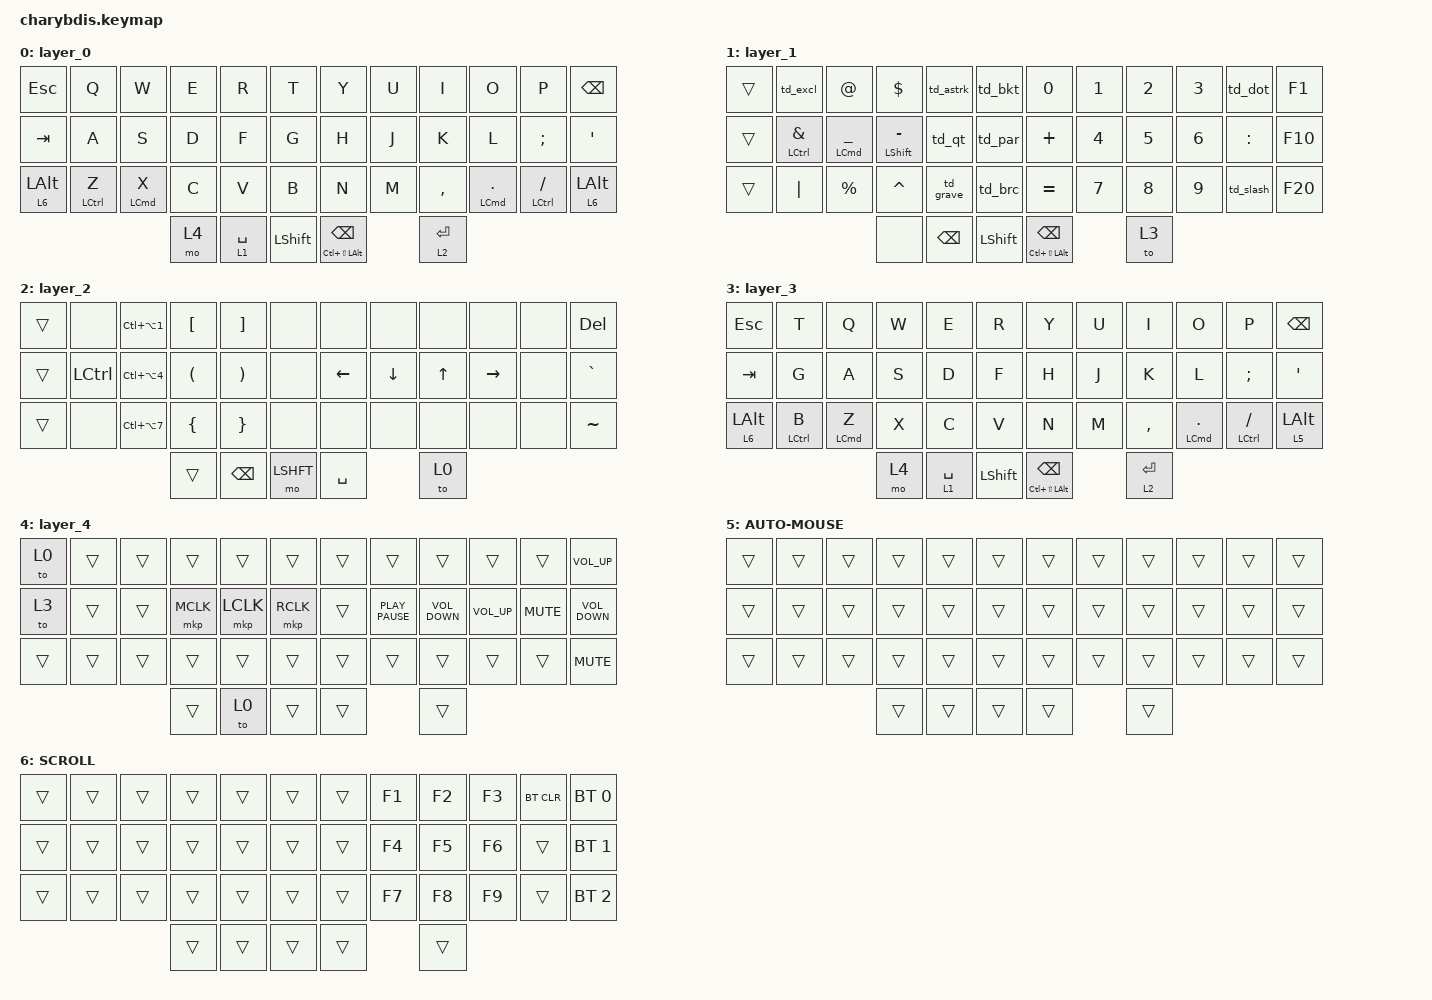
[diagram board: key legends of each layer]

#include <behaviors/mouse_keys.dtsi>
#include <behaviors.dtsi>
#include <dt-bindings/zmk/bt.h>
#include <dt-bindings/zmk/keys.h>
#include <dt-bindings/zmk/mouse.h>
#include <dt-bindings/zmk/outputs.h>

#define U_TAPPING_TERM 200


#define L0 0
#define L1 1
#define L2 2
#define L3 3
#define L4 4


#define AU(keycode) &au LA(keycode) keycode  // Autoumlauts Macro 

/ {
    chosen { zmk,matrix_transform = &default_transform; };
};

&mt {
	flavor = "tap-preferred";
	tapping_term_ms = <200>;
	quick_tap_ms = <125>;
};

/ {
    
    macros {
        excl_eq: excl_eq {
            label = "EXCL_EQ";
            compatible = "zmk,behavior-macro";
            #binding-cells = <0>;
            bindings = <&kp EXCL &kp EQUAL>;
        };

    };
    combos {
        compatible = "zmk,combos";

        escape_key {
            timeout-ms = <20>;
            key-positions = <15 16>;
            bindings = <&kp ESC>;
        };

        tab_key {
            timeout-ms = <20>;
            key-positions = <20 21>;
            bindings = <&kp TAB>;
        };

        lock_screen {
            timeout-ms = <20>;
            key-positions = <27 28>;
            bindings = <&kp LC(LG(Q))>;
            layers = <0>;
        };
    };

    behaviors {
        u_mt: u_mt {
            compatible = "zmk,behavior-hold-tap";
            label = "u_mt";
            #binding-cells = <2>;
            tapping_term_ms = <U_TAPPING_TERM>;
            flavor = "tap-preferred";
            bindings = <&kp>, <&kp>;
        };

        u_lt: u_lt {
            compatible = "zmk,behavior-hold-tap";
            label = "u_lt";
            #binding-cells = <2>;
            tapping_term_ms = <U_TAPPING_TERM>;
            flavor = "tap-preferred";
            bindings = <&mo>, <&kp>;
        };

		lm: layer_mod {
			label = "LAYER_MOD";
			compatible = "zmk,behavior-hold-tap";
			flavor = "hold-preferred";
			tapping_term_ms = <200>;
            #binding-cells = <2>;
			bindings = <&kp>,<&to>;
		};

        td_grave: tap_dance_grave {
            compatible = "zmk,behavior-tap-dance";
            label = "TAP_DANCE_GRAVE";
            #binding-cells = <0>;
            tapping-term-ms = <200>;
            bindings =
                <&kp GRAVE>,
                <&kp TILDE>;
        };

        td_bkt: tap_dance_bkt {
            compatible = "zmk,behavior-tap-dance";
            label = "TAP_DANCE_BKT";
            #binding-cells = <0>;
            tapping-term-ms = <200>;
            bindings =
                <&kp LBKT>,
                <&kp RBKT>;
        };

        td_par: tap_dance_par {
            compatible = "zmk,behavior-tap-dance";
            label = "TAP_DANCE_PAR";
            #binding-cells = <0>;
            tapping-term-ms = <200>;
            bindings =
                <&kp LPAR>,
                <&kp RPAR>;
        };

        td_brc: tap_dance_brc {
            compatible = "zmk,behavior-tap-dance";
            label = "TAP_DANCE_BRC";
            #binding-cells = <0>;
            tapping-term-ms = <200>;
            bindings =
                <&kp LBRC>,
                <&kp RBRC>;
        };

        td_qt: tap_dance_qt {
            compatible = "zmk,behavior-tap-dance";
            label = "TAP_DANCE_QT";
            #binding-cells = <0>;
            tapping-term-ms = <200>;
            bindings =
                <&kp SQT>,
                <&kp DQT>;
        };

        td_excl: tap_dance_excl {
            compatible = "zmk,behavior-tap-dance";
            label = "TAP_DANCE_EXCL";
            #binding-cells = <0>;
            tapping-term-ms = <200>;
            bindings =
                <&kp EXCL>,
                <&excl_eq>;
        };

        td_dot: td_dot {
            compatible = "zmk,behavior-tap-dance";
            label = "TAP_DANCE_DOT";
            #binding-cells = <0>;
            tapping-term-ms = <200>;
            bindings =
                <&kp DOT>,
                <&kp COMMA>;
        };

        td_slash: td_slash {
            compatible = "zmk,behavior-tap-dance";
            label = "TAP_DANCE_SLASH";
            #binding-cells = <0>;
            tapping-term-ms = <200>;
            bindings =
                <&kp SLASH>,
                <&kp BACKSLASH>;
        };

        td_astrk: td_astrk {
            compatible = "zmk,behavior-tap-dance";
            label = "TAP_DANCE_ASTRK";
            #binding-cells = <0>;
            tapping-term-ms = <200>;
            bindings =
                <&kp ASTRK>,
                <&kp HASH>;
        };

        hm: homerow_mods {
            compatible = "zmk,behavior-hold-tap";
            label = "HOMEROW_MODS";
            #binding-cells = <2>;
            tapping-term-ms = <200>;
            quick-tap-ms = <0>;
            flavor = "balanced";
            bindings =
                <&kp>,
                <&kp>;
        };

        au: auto_umlauts {
            compatible = "zmk,behavior-hold-tap";
            label = "HOMEROW_MODS";
            #binding-cells = <2>;
            tapping-term-ms = <225>;
            quick-tap-ms = <0>;
            flavor = "tap-preferred";
            bindings =
                <&kp>,
                <&kp>;
        };

        dl: double_layer {
            compatible= "zmk,behavior-hold-tap";
            #binding-cells = <2>;
            flavor = "tap-preferred";
            tapping-term-ms = <300>;
            quick-tap-ms = <0>;
            bindings = <&mo>, <&sl>;
        };
    };

    keymap {
        compatible = "zmk,keymap";

        layer_0 {
            bindings = <
&kp ESC  &kp Q             &kp W             &kp E          &kp R               &kp T    &kp Y  &kp U               &kp I          &kp O              &kp P                 &kp BSPC
&kp TAB  &kp A             &kp S             &kp D          &kp F               &kp G    &kp H  &kp J               &kp K          &kp L              &kp SEMI              &kp APOS
&lt 6 LALT    &hm LCTRL Z       &hm LCMD X        &kp C          &kp V               &kp B    &kp N  &kp M               &kp COMMA      &hm LCMD DOT       &hm LCTRL SLASH       &lt 6 LALT
                                             &mo 4          &lt 1 SPACE    &kp LSHIFT    &mt LC(LS(LALT)) BSPC      &lt 2 ENTER
            >;
        };

        layer_1 {
            bindings = <
&trans  &td_excl        &kp AT          &kp DOLLAR       &td_astrk  &td_bkt     &kp N0           &kp N1         &kp N2      &kp N3  &td_dot     &kp F1
&trans  &hm LCTRL AMPS  &hm LCMD UNDER  &hm LSHFT MINUS  &td_qt     &td_par     &kp PLUS         &kp N4         &kp N5      &kp N6  &kp COLON   &kp F10
&trans  &kp PIPE        &kp PRCNT       &kp CARET        &td_grave  &td_brc     &kp EQUAL        &kp N7         &kp N8      &kp N9  &td_slash   &kp F20
                                        &none            &kp BSPC   &kp LSHFT   &mt LC(LS(LALT)) BSPC           &to L3
            >;
        };

        layer_2 {
            bindings = <
&trans      &none       &kp LC(LA(N1))  &kp LBKT  &kp RBKT  &none            &none      &none         &none       &none         &none  &kp DEL
&trans      &kp LCTRL   &kp LC(LA(N4))  &kp LPAR  &kp RPAR  &none            &kp LEFT   &kp DOWN      &kp UP      &kp RIGHT     &none  &kp GRAVE
&trans      &none       &kp LC(LA(N7))  &kp LBRC  &kp RBRC  &none            &none      &none         &none       &none         &none  &kp TILDE
                                        &trans    &kp BSPC  &mo LSHFT        &kp SPACE  &to L0
            >;
        };

        layer_3 { 
            bindings = <
&kp ESC       &kp T             &kp Q             &kp W          &kp E               &kp R        &kp Y  &kp U               &kp I          &kp O              &kp P                 &kp BSPC
&kp TAB       &kp G             &kp A             &kp S          &kp D               &kp F        &kp H  &kp J               &kp K          &kp L              &kp SEMI              &kp APOS
&lt 6 LALT    &hm LCTRL B       &hm LCMD Z        &kp X          &kp C               &kp V        &kp N  &kp M               &kp COMMA      &hm LCMD DOT       &hm LCTRL SLASH       &lt 5 LALT
                                                  &mo 4          &lt 1 SPACE         &kp LSHIFT   &mt LC(LS(LALT)) BSPC      &lt 2 ENTER
            >;
        };

        layer_4 {
            bindings = <
&to 0   &trans   &trans  &trans     &trans      &trans         &trans  &trans            &trans             &trans           &trans        &kp C_VOLUME_UP
&to 3   &trans   &trans  &mkp MCLK  &mkp LCLK   &mkp RCLK      &trans  &kp K_PLAY_PAUSE  &kp C_VOLUME_DOWN  &kp C_VOLUME_UP  &kp C_MUTE    &kp C_VOLUME_DOWN
&trans  &trans   &trans  &trans     &trans      &trans         &trans  &trans            &trans             &trans           &trans        &kp C_MUTE
                         &trans     &to L0      &trans         &trans  &trans
            >;
        };


        AUTO-MOUSE {
            bindings = <
&trans  &trans  &trans  &trans     &trans     &trans          &trans  &trans  &trans  &trans  &trans  &trans
&trans  &trans  &trans  &trans     &trans     &trans          &trans  &trans  &trans  &trans  &trans  &trans
&trans  &trans  &trans  &trans     &trans     &trans          &trans  &trans  &trans  &trans  &trans  &trans
                        &trans     &trans     &trans          &trans  &trans
            >;
        };

        SCROLL {
            bindings = <
&trans  &trans  &trans  &trans  &trans  &trans    &trans  &kp F1  &kp F2  &kp F3  &bt BT_CLR  &bt BT_SEL 0
&trans  &trans  &trans  &trans  &trans  &trans    &trans  &kp F4  &kp F5  &kp F6  &trans      &bt BT_SEL 1
&trans  &trans  &trans  &trans  &trans  &trans    &trans  &kp F7  &kp F8  &kp F9  &trans      &bt BT_SEL 2
                        &trans  &trans  &trans    &trans  &trans
            >;
        };
    };
};
